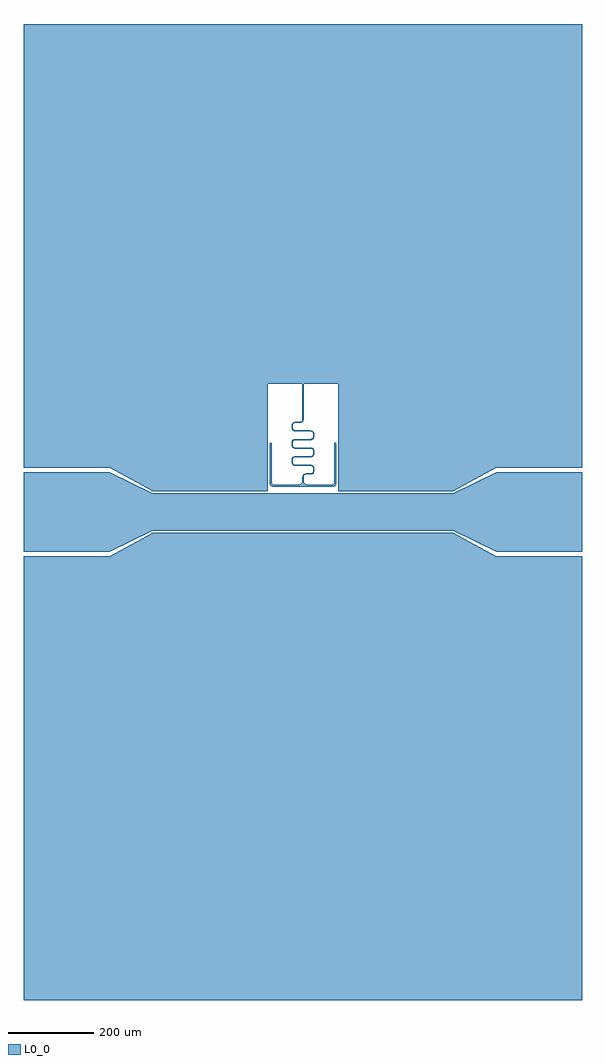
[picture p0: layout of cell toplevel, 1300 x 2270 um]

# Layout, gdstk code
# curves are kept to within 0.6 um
import gdstk
lib = gdstk.Library(unit=1e-6, precision=1e-09)
def P(c, l, *ps):  # polygons
    for p in ps: c.add(gdstk.Polygon(p, *l))
L0_0 = (0, 0)

toplevel = lib.new_cell('toplevel')
P(toplevel, L0_0, [(82.5,298.5),(82.5,48.5),(350,48.5),(450,102.575),(650,102.575),(650,1135),(-650,1135),(-650,102.575),(-450,102.575),(-350,48.5),(-82.5,48.5),(-82.5,298.5)],
  [(650,-1135),(650,-102.575),(450,-102.575),(350,-48.5),(-350,-48.5),(-450,-102.575),(-650,-102.575),(-650,-1135)],
  [(-75.109,160.998),(-76.768,160.268),(-77.498,158.609),(-77.495,69.262),(-76.51,63.737),(-73.502,60.154),(-70.563,58.918),(-66.738,58.505),(66.879,58.507),(72.263,59.489),(75.811,62.445),(77.108,65.545),(77.499,69.678),(77.5,158.5),(76.343,160.608),(73.846,160.717),(72.502,158.609),(72.493,69.17),(72.07,66.098),(70.83,64.381),(66.336,63.501),(-66.125,63.5),(-70.871,64.409),(-72.426,67.868),(-72.502,158.609),(-73.311,160.343)],
  [(1.25,68.5),(1.295,81.307),(2.323,84.995),(3.651,86.269),(5.664,87.014),(18.962,87.394),(21.569,88.053),(23.638,89.321),(25.324,91.646),(26.14,94.825),(26.183,101.701),(25.345,105.307),(24.285,107.015),(22.868,108.267),(20.992,109.16),(18.723,109.635),(-16.77,109.756),(-20.452,110.3),(-22.437,111.674),(-23.498,114.089),(-23.742,120.396),(-23.297,123.674),(-21.609,126.1),(-18.29,127.166),(16.993,127.26),(21.617,128.073),(24.285,129.985),(25.831,133.089),(26.249,139.68),(25.792,144.057),(24.853,146.234),(23.431,147.854),(21.474,148.986),(19.01,149.6),(-16.642,149.754),(-19.889,150.117),(-21.773,151.021),(-22.972,152.52),(-23.6,154.66),(-23.666,161.79),(-23.148,164.087),(-22.029,165.763),(-20.174,166.797),(-18.684,167.121),(16.315,167.251),(19.298,167.441),(21.854,168.176),(23.838,169.507),(25.212,171.41),(26.011,173.912),(26.238,180.585),(25.75,184.202),(24.179,187.138),(21.569,188.947),(19.539,189.519),(-18.527,189.859),(-20.486,190.313),(-21.955,191.17),(-22.924,192.426),(-23.521,194.201),(-23.6,202.34),(-22.972,204.48),(-21.8,205.958),(-20.314,206.75),(-18.369,207.158),(-7.361,207.282),(-4.056,207.824),(-2.266,208.647),(-0.858,209.821),(0.879,213.283),(1.249,217.275),(1.25,298.5),(-1.25,298.5),(-1.251,217.328),(-1.543,213.903),(-2.782,211.422),(-5.111,210.117),(-7.686,209.77),(-18.914,209.612),(-21.474,208.986),(-23.473,207.82),(-25.116,205.776),(-26.019,203.039),(-26.249,197.185),(-25.965,193.671),(-25.141,191.27),(-23.759,189.431),(-21.76,188.134),(-19.25,187.434),(16.854,187.242),(20.52,186.674),(22.395,185.378),(23.439,183.171),(23.746,180.142),(23.55,174.353),(22.972,172.52),(22.005,171.215),(20.52,170.326),(18.527,169.859),(-16.857,169.743),(-20.992,169.16),(-23.597,167.715),(-24.552,166.676),(-25.805,164.008),(-26.25,157.85),(-26.019,153.961),(-25.067,151.131),(-23.305,149.045),(-20.702,147.75),(-18.914,147.388),(18.29,147.166),(20.209,146.786),(21.692,146.04),(22.715,144.937),(23.383,143.389),(23.747,140.057),(23.482,134.014),(23.063,132.714),(21.581,130.88),(18.879,129.906),(-16.225,129.749),(-21.33,129.041),(-23.262,127.988),(-24.677,126.501),(-25.66,124.492),(-26.243,120.357),(-26.213,115.768),(-25.868,113.234),(-24.32,110.027),(-21.617,108.073),(-19.539,107.481),(18.13,107.181),(21.319,106.287),(23.078,104.253),(23.705,101.307),(23.666,95.21),(23.048,92.681),(21.773,91.021),(20.244,90.226),(18.25,89.83),(5.074,89.445),(2.266,88.353),(0.293,86.457),(-0.691,84.396),(-1.172,81.843),(-1.25,68.5)],
  [(10,63.5),(1.25,68.5),(-1.25,68.5),(-10,63.5)],
  [(-350,43.5),(-450,92),(-650,92),(-650,-92),(-450,-92),(-350,-43.5),(350,-43.5),(450,-92),(650,-92),(650,92),(450,92),(350,43.5)])

lib.write_gds('toplevel.gds')
